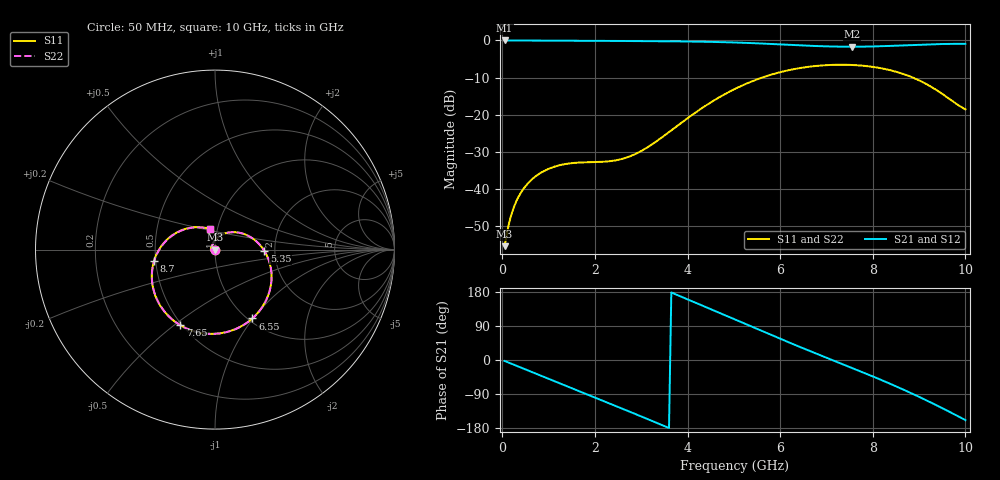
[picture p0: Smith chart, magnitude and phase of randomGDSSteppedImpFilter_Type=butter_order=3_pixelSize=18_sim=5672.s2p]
! freq	dB(S11)	phase(S11)	dB(S12)	phase(S12)
!  dB(S21)	phase(S21)	dB(S22)	phase(S22)
!S-par simulation data
#  GHz  S  DB  R 50
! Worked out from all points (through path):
!   200 points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, 50 MHz to 10 GHz, reference 50 ohm
!   highest |S21| = -0.01 dB at 50 MHz (marker M1); lowest = -1.7 dB at 7.55 GHz (marker M2)
!   group delay of S21, straight-line fit = 142 ps
!   lowest |S11| = -55.3 dB at 50 MHz (marker M3), VSWR 1.00, Z = 50.1 - j0.121 ohm
!   |S11| at or under -10 dB: start of sweep to 5.609 GHz; 8.866 GHz to end of sweep
!   |S22| runs from -55.3 to -6.5 dB; largest |S21 - S12| = 0
!   S11 on the Smith chart (normalised r, x): 50 MHz: 1.00, -0.00; 5.35 GHz: 1.76, -0.03; 6.55 GHz: 1.05, -0.99; 7.65 GHz: 0.49, -0.53; 8.7 GHz: 0.49, -0.07; 10 GHz: 0.93, +0.22
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0.05  -55.32 -44.7  -0.01 -2.5  -0.01 -2.5  -55.32 -44.7
0.15  -48.93 -78.3  -0.02 -7.4  -0.02 -7.4  -48.93 -78.4
0.25  -44.81 -91.9  -0.03 -12.4  -0.03 -12.4  -44.82 -92.0
0.55  -38.48 -114.5  -0.04 -27.2  -0.04 -27.2  -38.49 -114.7
1.2  -33.68 -151.8  -0.07 -59.3  -0.07 -59.3  -33.68 -152.2
1.75  -32.79 178.8  -0.10 -86.5  -0.10 -86.5  -32.78 178.0
2.5  -32.12 139.3  -0.15 -123.8  -0.15 -123.8  -32.10 138.2
2.95  -30.07 116.7  -0.18 -146.4  -0.18 -146.4  -30.06 115.7
3.4  -26.50 95.1  -0.22 -169.2  -0.22 -169.2  -26.49 94.5
4.15  -19.59 58.9  -0.32 152.4  -0.32 152.4  -19.59 58.8
4.6  -15.93 36.5  -0.42 128.9  -0.42 128.9  -15.92 36.5
5.05  -12.88 13.8  -0.57 105.4  -0.57 105.4  -12.88 13.8
5.35  -11.21 -1.5  -0.70 89.6  -0.70 89.6  -11.21 -1.4
5.9  -8.88 -29.3  -1.01 61.1  -1.01 61.1  -8.88 -29.2
6.55  -7.20 -61.5  -1.40 28.3  -1.40 28.3  -7.20 -61.3
6.7  -6.97 -68.8  -1.48 20.9  -1.48 20.9  -6.97 -68.6
7.55  -6.61 -109.9  -1.70 -20.8  -1.70 -20.8  -6.60 -109.6
7.65  -6.67 -114.7  -1.70 -25.8  -1.70 -25.8  -6.67 -114.5
8.35  -7.93 -150.1  -1.49 -61.4  -1.49 -61.4  -7.93 -149.8
8.7  -9.20 -169.1  -1.31 -80.3  -1.31 -80.3  -9.20 -168.8
9.35  -13.15 151.5  -1.01 -117.9  -1.01 -117.9  -13.15 152.0
10  -18.54 102.3  -0.93 -158.6  -0.93 -158.6  -18.57 102.8
